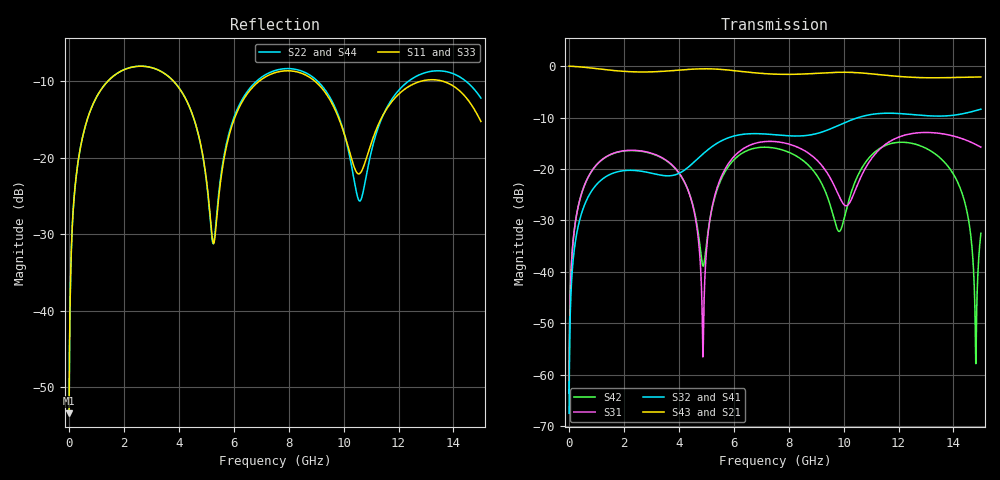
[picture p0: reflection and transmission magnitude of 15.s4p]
! Created with skrf 1.8.0 (http://scikit-rf.org).
# GHz S RI R 50.0
!freq ReS11 ImS11 ReS12 ImS12 ReS13 ImS13
! ReS14 ImS14
! ReS21 ImS21 ReS22 ImS22 ReS23 ImS23
! ReS24 ImS24
! ReS31 ImS31 ReS32 ImS32 ReS33 ImS33
! ReS34 ImS34
! ReS41 ImS41 ReS42 ImS42 ReS43 ImS43
! ReS44 ImS44
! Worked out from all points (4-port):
!   2499 points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, 5 MHz to 15 GHz, reference 50 ohm
!   strongest paths, dB at 5 MHz, 3.476 GHz, 7.19 GHz, 11.1 GHz, 15 GHz:
!     S43: 0.0, -1.0, -1.5, -1.5, -2.1
!     S21: 0.0, -1.0, -1.5, -1.5, -2.1
!     S32: -67.5, -21.3, -13.2, -9.3, -8.4
!     S41: -67.5, -21.3, -13.2, -9.4, -8.4
!     S31: -63.6, -18.1, -14.6, -17.4, -15.8
!     S42: -63.6, -18.1, -15.8, -16.9, -32.5
!   lowest |S11| = -53.4 dB at 5 MHz (marker M1), VSWR 1.00, Z = 50.2 + j0.13 ohm
!   |S11| at or under -10 dB: 3.799 GHz to 6.935 GHz (3.136 GHz wide, 58.4 % of centre); 8.948 GHz to 12.85 GHz (3.905 GHz wide, 35.8 % of centre); 13.58 GHz to end of sweep (the widest 3 of 4)
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0.005  0.0017 0.0013  0.9983 -0.00332  8.51e-05 0.000655  -8.28e-05 -0.000414
       0.9983 -0.00332  0.0017 0.0013  -8.28e-05 -0.000414  8.51e-05 0.000655
       8.51e-05 0.000655  -8.28e-05 -0.000414  0.0017 0.0013  0.9983 -0.00332
       -8.28e-05 -0.000414  8.51e-05 0.000655  0.9983 -0.00332  0.0017 0.0013
0.3626511  0.0322 0.0969  0.9555 -0.237  0.0151 0.0439  -0.0125 -0.0272
           0.9555 -0.237  0.0323 0.0969  -0.0125 -0.0272  0.0149 0.044
           0.0151 0.0439  -0.0125 -0.0272  0.0322 0.0969  0.9555 -0.237
           -0.0125 -0.0272  0.0149 0.044  0.9555 -0.237  0.0323 0.0969
1.725719  0.3151 0.1562  0.4438 -0.784  0.1389 0.0424  -0.0926 0.0109
          0.4438 -0.784  0.3157 0.1556  -0.0927 0.011  0.1374 0.045
          0.1389 0.0424  -0.0927 0.011  0.3151 0.1563  0.4438 -0.784
          -0.0926 0.0109  0.1374 0.045  0.4438 -0.784  0.3158 0.1555
4.883285  0.0474 -0.0891  -0.8975 -0.2846  -0.00145 0.000403  -0.0388 0.1349
          -0.8975 -0.2846  0.0463 -0.088  -0.0377 0.1352  -0.0113 -0.00156
          -0.00145 0.000403  -0.0377 0.1352  0.0483 -0.0902  -0.8973 -0.2847
          -0.0388 0.1349  -0.0113 -0.00156  -0.8973 -0.2847  0.0462 -0.0894
6.177574  0.1383 0.1562  -0.7835 0.4281  0.1229 0.0787  0.1307 0.1694
          -0.7835 0.4281  0.1454 0.1597  0.1321 0.1684  0.0971 0.0935
          0.1229 0.0787  0.1321 0.1684  0.1381 0.1544  -0.7837 0.4283
          0.1307 0.1694  0.0971 0.0935  -0.7837 0.4283  0.1442 0.159
10.57941  0.0785 0.00089  0.8528 0.1127  -0.00242 0.0779  0.0351 -0.3165
          0.8528 0.1127  0.0518 -0.00526  0.0311 -0.3173  0.00133 0.093
          -0.00242 0.0779  0.0311 -0.3173  0.075 -0.000131  0.8531 0.1107
          0.0351 -0.3165  0.00133 0.093  0.8531 0.1107  0.0552 -0.00463
15  0.1544 -0.076  -0.5669 -0.5412  -0.1206 -0.1096  -0.2632 0.2765
    -0.5669 -0.5412  0.1859 -0.1593  -0.2559 0.2825  -0.00313 0.0236
    -0.1206 -0.1096  -0.2559 0.2825  0.1545 -0.0707  -0.5718 -0.5369
    -0.2632 0.2765  -0.00313 0.0236  -0.5718 -0.5369  0.1801 -0.1595
